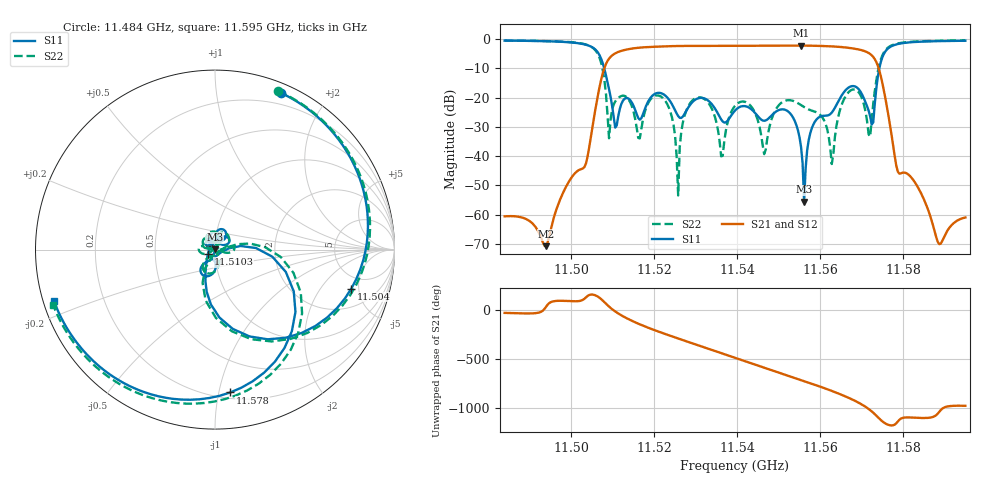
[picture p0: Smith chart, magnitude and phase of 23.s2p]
! Created with skrf 1.8.0 (http://scikit-rf.org).
# Hz S RI R 50.0
!freq ReS11 ImS11 ReS21 ImS21 ReS12 ImS12 ReS22 ImS22
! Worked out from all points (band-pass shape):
!   301 points, 11.484 GHz to 11.595 GHz, reference 50 ohm
!   highest |S21| = -2.18 dB at 11.5554 GHz (marker M1); lowest = -70.8 dB at 11.494 GHz (marker M2)
!   |S21| within 3 dB of the highest: 11.5102 GHz to 11.5722 GHz (61.92 MHz wide, 0.537 % of centre)
!   lowest |S11| = -55.6 dB at 11.5562 GHz (marker M3), VSWR 1.00, Z = 49.8 + j0.0612 ohm
!   |S11| at or under -10 dB: 11.508 GHz to 11.5743 GHz (66.26 MHz wide, 0.574 % of centre)
!   |S22| runs from -53.5 to -0.4 dB; largest |S21 - S12| = 0.0086
!   S11 on the Smith chart (normalised r, x): 11.484 GHz: 0.09, +1.50; 11.504 GHz: 3.58, -4.14; 11.5103 GHz: 0.92, -0.05; 11.578 GHz: 0.24, -1.08; 11.595 GHz: 0.03, -0.15
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1.1484e10  0.3684 0.8719  0.000847 -0.000386  0.00084 -0.000366  0.3534 0.8825
1.149399e10  0.6663 0.6417  0.000223 0.00018  0.000218 0.000183  0.666 0.6502
1.15025e10  0.8379 -0.0098  -0.00126 0.00587  -0.00134 0.00591  0.8463 -0.0321
1.150398e10  0.7598 -0.2171  -0.00828 0.00517  -0.00841 0.00518  0.7535 -0.2534
1.151027e10  -0.0398 -0.0248  0.5521 0.0149  0.5531 0.0133  0.0754 0.011
1.151471e10  0.0737 0.0341  -0.1909 -0.666  -0.1949 -0.6654  0.067 -0.018
1.1521e10  0.0427 0.113  -0.6181 0.4208  -0.6151 0.421  0.068 0.0849
1.152581e10  0.0219 0.0432  0.2106 0.7366  0.2158 0.7335  -0.00209 0.000344
1.15284e10  -0.0209 0.0675  0.616 0.458  0.6157 0.4505  -0.0502 0.0553
1.153617e10  0.00363 0.0422  0.2046 -0.7432  0.1999 -0.7425  0.00071 0.00988
1.15395e10  -0.0395 0.0453  -0.4163 -0.6469  -0.4187 -0.6396  -0.0661 0.0295
1.154875e10  -0.0473 0.0242  -0.1914 0.7519  -0.1855 0.7508  -0.0462 -0.0239
1.155541e10  -0.00394 0.0138  0.7661 0.1358  0.7596 0.1326  -0.072 0.0197
1.155615e10  -0.00154 0.000614  0.7777 -0.00787  0.7714 -0.00918  -0.0668 0.0177
1.1558e10  -0.00895 -0.0286  0.6876 -0.3572  0.6832 -0.3561  -0.059 0.0105
1.156281e10  -0.00845 -0.0548  -0.1407 -0.7416  -0.1422 -0.7377  -0.00616 -0.00395
1.156688e10  -0.0312 -0.146  -0.7047 -0.1041  -0.7039 -0.1027  -0.00409 -0.1245
1.157206e10  -0.00799 -0.0472  0.2544 0.4978  0.2539 0.4959  0.0172 -0.0128
1.15765e10  0.3342 -0.6241  0.0016 -0.0477  0.00147 -0.0485  0.3685 -0.6349
1.157798e10  0.0847 -0.7961  0.000892 -0.00989  0.000795 -0.01  0.1153 -0.8131
1.158871e10  -0.7756 -0.5111  0.000215 0.000224  0.000218 0.000217  -0.7732 -0.5365
1.1595e10  -0.8979 -0.2843  -0.000263 0.000849  -0.00024 0.000849  -0.9016 -0.3087
